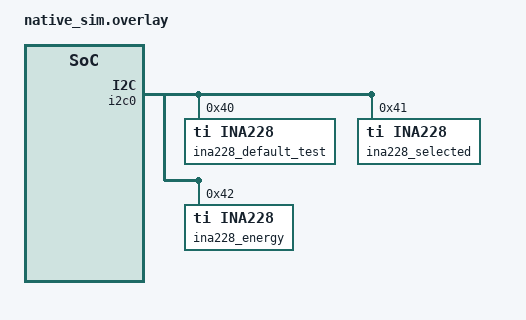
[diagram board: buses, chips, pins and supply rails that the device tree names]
/*
 * Copyright (c) 2025 Jonas Berg
 * SPDX-License-Identifier: Apache-2.0
 */

&i2c0 {
	status = "okay";

	/* Example values from data sheet */
	ina228_default_test: ina228@40 {
		compatible = "ti,ina228";
		reg = <0x40>;
		rshunt-micro-ohms = <16200>;
		current-lsb-microamps = <19>;
		status = "okay";
	};
};

&i2c0 {
	ina228_selected: ina228@41 {
		compatible = "ti,ina228";
		reg = <0x41>;
		rshunt-micro-ohms = <16200>;
		current-lsb-microamps = <19>;
		fetch-channels = "bus-voltage", "shunt-voltage";
	};
	ina228_energy: ina228@42 {
		compatible = "ti,ina228";
		reg = <0x42>;
		rshunt-micro-ohms = <16200>;
		current-lsb-microamps = <19>;
		fetch-channels = "energy";
	};
};
